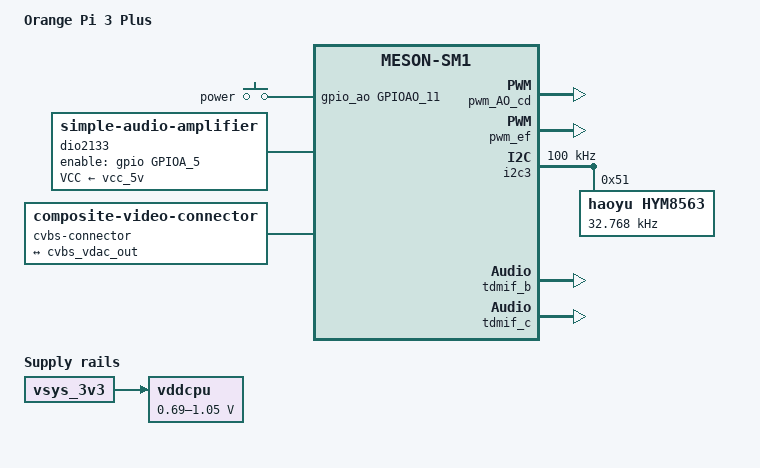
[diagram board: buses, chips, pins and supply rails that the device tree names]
// SPDX-License-Identifier: (GPL-2.0+ OR MIT)
/*
 * Copyright (c) 2019 BayLibre, SAS
 * Author: Neil Armstrong <narmstrong@baylibre.com>
 */

/dts-v1/;

#include "meson-sm1.dtsi"
#include "meson-orangepi-3-plus.dtsi"
#include <dt-bindings/sound/meson-g12a-tohdmitx.h>

/ {
	compatible = "orangepi,3plus", "amlogic,sm1";
	model = "Orange Pi 3 Plus";

	vddcpu: regulator-vddcpu {
		/*
		 * Silergy SY8030DEC Regulator.
		 */
		compatible = "pwm-regulator";

		regulator-name = "VDDCPU";
		regulator-min-microvolt = <690000>;
		regulator-max-microvolt = <1050000>;

		pwm-supply = <&vsys_3v3>;

		pwms = <&pwm_AO_cd 1 1250 0>;
		pwm-dutycycle-range = <100 0>;

		regulator-boot-on;
		regulator-always-on;
	};

	sound {
		compatible = "amlogic,axg-sound-card";
		model = "OPI-3Plus";
		audio-widgets = "Line", "Lineout";
		audio-aux-devs = <&tdmout_b>, <&tdmout_c>,
				 <&tdmin_a>, <&tdmin_b>, <&tdmin_c>, <&dio2133>;
		audio-routing = "TDMOUT_B IN 0", "FRDDR_A OUT 1",
		                "TDMOUT_B IN 1", "FRDDR_B OUT 1",
		                "TDMOUT_B IN 2", "FRDDR_C OUT 1",
		                "TDM_B Playback", "TDMOUT_B OUT",
		                "TDMOUT_C IN 0", "FRDDR_A OUT 2",
		                "TDMOUT_C IN 1", "FRDDR_B OUT 2",
		                "TDMOUT_C IN 2", "FRDDR_C OUT 2",
		                "TDM_C Playback", "TDMOUT_C OUT",
		                "TDMIN_A IN 4", "TDM_B Loopback",
		                "TDMIN_B IN 4", "TDM_B Loopback",
		                "TDMIN_C IN 4", "TDM_B Loopback",
		                "TDMIN_A IN 5", "TDM_C Loopback",
		                "TDMIN_B IN 5", "TDM_C Loopback",
		                "TDMIN_C IN 5", "TDM_C Loopback",
		                "TODDR_A IN 0", "TDMIN_A OUT",
		                "TODDR_B IN 0", "TDMIN_A OUT",
		                "TODDR_C IN 0", "TDMIN_A OUT",
		                "TODDR_A IN 1", "TDMIN_B OUT",
		                "TODDR_B IN 1", "TDMIN_B OUT",
		                "TODDR_C IN 1", "TDMIN_B OUT",
		                "TODDR_A IN 2", "TDMIN_C OUT",
		                "TODDR_B IN 2", "TDMIN_C OUT",
		                "TODDR_C IN 2", "TDMIN_C OUT",
		                "Lineout", "ACODEC LOLP",
		                "Lineout", "ACODEC LORP";

		assigned-clocks = <&clkc CLKID_MPLL2>,
		                  <&clkc CLKID_MPLL0>,
		                  <&clkc CLKID_MPLL1>;
		assigned-clock-parents = <0>, <0>, <0>;
		assigned-clock-rates = <294912000>,
		                       <270950400>,
		                       <393216000>;
		status = "okay";

		dai-link-0 {
			sound-dai = <&frddr_a>;
		};

		dai-link-1 {
			sound-dai = <&frddr_b>;
		};

		dai-link-2 {
			sound-dai = <&frddr_c>;
		};

		dai-link-3 {
			sound-dai = <&toddr_a>;
		};

		dai-link-4 {
			sound-dai = <&toddr_b>;
		};

		dai-link-5 {
			sound-dai = <&toddr_c>;
		};

		dai-link-6 {
			sound-dai = <&tdmif_b>;
			dai-format = "i2s";
			dai-tdm-slot-tx-mask-0 = <1 1>;
			dai-tdm-slot-tx-mask-1 = <1 1>;
			dai-tdm-slot-tx-mask-2 = <1 1>;
			dai-tdm-slot-tx-mask-3 = <1 1>;
			mclk-fs = <256>;

			codec-0 {
				sound-dai = <&tohdmitx TOHDMITX_I2S_IN_B>;
			};

			codec-1 {
				sound-dai = <&toacodec TOACODEC_IN_B>;
			};
		};

		dai-link-7 {
			sound-dai = <&tdmif_c>;
			dai-format = "i2s";
			dai-tdm-slot-tx-mask-0 = <1 1>;
			mclk-fs = <256>;

			codec-0 {
				sound-dai = <&tohdmitx TOHDMITX_I2S_IN_C>;
			};

			codec-1 {
				sound-dai = <&toacodec TOACODEC_IN_C>;
			};
		};

		/* hdmi glue */
		dai-link-8 {
			sound-dai = <&tohdmitx TOHDMITX_I2S_OUT>;

			codec {
				sound-dai = <&hdmi_tx>;
			};
		};

		/* acodec glue */
		dai-link-9 {
			sound-dai = <&toacodec TOACODEC_OUT>;

			codec {
				sound-dai = <&acodec>;
			};
		};
	};

	//gpio-keys {
	//	compatible = "gpio-keys";

	//	key {
	//		label = "power";
	//		linux,code = <KEY_POWER>;
	//		gpios = <&gpio_ao GPIOAO_11 GPIO_ACTIVE_HIGH>;
	//		interrupt-parent = <&gpio_intc>;
	//		interrupts = <11 IRQ_TYPE_EDGE_BOTH>;
	//	};
	//};

	gpio-keys-polled {
		compatible = "gpio-keys-polled";
		poll-interval = <100>;

		power-button {
			label = "power";
			linux,code = <KEY_POWER>;
			gpios = <&gpio_ao GPIOAO_11 GPIO_ACTIVE_HIGH>;
		};
	};

	dio2133: audio-amplifier-0 {
		compatible = "simple-audio-amplifier";
		enable-gpios = <&gpio GPIOA_5 GPIO_ACTIVE_HIGH>;
		VCC-supply = <&vcc_5v>;
		sound-name-prefix = "U19";
		status = "okay";
	};

	/* TOFIX: handle CVBS_DET on SARADC channel 0 */
	cvbs-connector {
		compatible = "composite-video-connector";

		port {
			cvbs_connector_in: endpoint {
				remote-endpoint = <&cvbs_vdac_out>;
			};
		};
	};
};

&cpu0 {
	cpu-supply = <&vddcpu>;
	operating-points-v2 = <&cpu_opp_table>;
	clocks = <&clkc CLKID_CPU_CLK>;
	clock-latency = <50000>;
};

&cpu1 {
	cpu-supply = <&vddcpu>;
	operating-points-v2 = <&cpu_opp_table>;
	clocks = <&clkc CLKID_CPU1_CLK>;
	clock-latency = <50000>;
};

&cpu2 {
	cpu-supply = <&vddcpu>;
	operating-points-v2 = <&cpu_opp_table>;
	clocks = <&clkc CLKID_CPU2_CLK>;
	clock-latency = <50000>;
};

&cpu3 {
	cpu-supply = <&vddcpu>;
	operating-points-v2 = <&cpu_opp_table>;
	clocks = <&clkc CLKID_CPU3_CLK>;
	clock-latency = <50000>;
};

&pwm_AO_cd {
	pinctrl-0 = <&pwm_ao_d_e_pins>, <&pwm_ao_c_6_pins>;
	pinctrl-names = "default";
	clocks = <&xtal>;
	clock-names = "clkin1";
	status = "okay";
};

&sd_emmc_a {
	sd-uhs-sdr50;
};

&mali {
	status = "disabled";
};

/* GPIOAO_8 and GPIOAO_9 */
&uart_AO_B {
	status = "disabled";
	pinctrl-0 = <&uart_ao_b_8_9_pins>;
	pinctrl-names = "default";
};

&pwm_ef {
	status = "okay";
	pinctrl-0 = <&pwm_f_a_pins>;
	pinctrl-names = "default";
};

&spicc1 {
	status = "disabled";
	pinctrl-0 = <&spicc1_pins>, <&spicc1_ss0_pins>;
	pinctrl-names = "default";

	spidev@0 {
		status = "disabled";
		compatible = "rohm,dh2228fv";
		reg = <0>;
		spi-max-frequency = <1000000>;
	};
};

/* GPIOA_14 and GPIOA_15 */
&i2c3 {
	clock-frequency = <100000>;
	pinctrl-0 = <&i2c3_sda_a_pins>, <&i2c3_sck_a_pins>;
	pinctrl-names = "default";
	status = "okay";

	hym8563: rtc@51 {
		status = "okay";
		compatible = "haoyu,hym8563";
		reg = <0x51>;
		#clock-cells = <0>;
		clock-frequency = <32768>;
		clock-output-names = "xin32k";
		wakeup-source;
	};
};

&i2c_AO {
	pinctrl-0 = <&i2c_ao_sck_pins>, <&i2c_ao_sda_pins>;
	pinctrl-names = "default";
	status = "disabled";
};

&cvbs_vdac_port {
	cvbs_vdac_out: endpoint {
		remote-endpoint = <&cvbs_connector_in>;
	};
};

&tdmif_b {
	status = "okay";
};

&tdmif_c {
	status = "okay";
};
